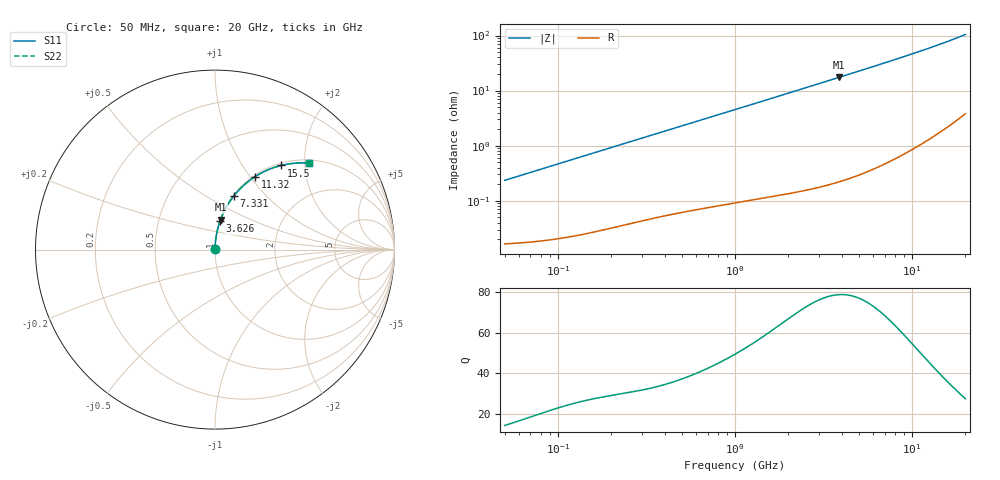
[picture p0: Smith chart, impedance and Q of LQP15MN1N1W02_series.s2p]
!Murata Part Number: LQP15MN1N1W02
!These Parameters are Measured in Series Mode Connection
!  o--[Z]--o
!Port1  Port2
!  o-------o
!Freq. Start=50[MHz] Stop=20[GHz], 401[Steps]
# Hz S RI R 50
!Freq.(Hz) S11(Real) S11(Imag) S21(Real) S21(Imag) S12(Real) S12(Imag) S22(Real) S22(Imag)
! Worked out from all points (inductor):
!   401 points, 50 MHz to 20 GHz, reference 50 ohm
!   read as one part in series: L = 743 pH near 51.52 MHz
!   highest Q = 78.9 at 3.85 GHz (marker M1), where L = 715 pH
!   S11 on the Smith chart (normalised r, x): 50 MHz: 1.00, +0.00; 3.626 GHz: 1.00, +0.33; 7.331 GHz: 1.01, +0.67; 11.32 GHz: 1.02, +1.06; 15.5 GHz: 1.04, +1.52; 20 GHz: 1.08, +2.09
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5e7  0.00017 0.00234  0.9998 -0.00234  0.9998 -0.00234  0.00017 0.00234
5.152053e7  0.000171 0.00241  0.9998 -0.00241  0.9998 -0.00241  0.000171 0.00241
1.364002e8  0.000283 0.00634  0.9997 -0.00634  0.9997 -0.00634  0.000283 0.00634
3.721004e8  0.000794 0.017  0.9992 -0.017  0.9992 -0.017  0.000794 0.017
6.380365e8  0.00154 0.0289  0.9985 -0.0289  0.9985 -0.0289  0.00154 0.0289
1e9  0.00293 0.0449  0.9971 -0.0449  0.9971 -0.0449  0.00293 0.0449
1.714689e9  0.0071 0.0764  0.9929 -0.0764  0.9929 -0.0764  0.0071 0.0764
2.728004e9  0.0163 0.1202  0.9837 -0.1202  0.9837 -0.1202  0.0163 0.1202
3.626126e9  0.0278 0.158  0.9722 -0.158  0.9722 -0.158  0.0278 0.158
3.850025e9  0.0311 0.1673  0.9689 -0.1673  0.9689 -0.1673  0.0311 0.1673
5.433528e9  0.0595 0.23  0.9405 -0.23  0.9405 -0.23  0.0595 0.23
6.311513e9  0.0787 0.2625  0.9213 -0.2625  0.9213 -0.2625  0.0787 0.2625
7.331367e9  0.1039 0.2977  0.8961 -0.2977  0.8961 -0.2977  0.1039 0.2977
7.442007e9  0.1068 0.3014  0.8932 -0.3014  0.8932 -0.3014  0.1068 0.3014
8.389408e9  0.1328 0.3313  0.8672 -0.3313  0.8672 -0.3313  0.1328 0.3313
9.316812e9  0.1601 0.3581  0.8399 -0.3581  0.8399 -0.3581  0.1601 0.3581
1.131968e10  0.224 0.4069  0.776 -0.4069  0.776 -0.4069  0.224 0.4069
1.314879e10  0.2863 0.4406  0.7137 -0.4406  0.7137 -0.4406  0.2863 0.4406
1.550395e10  0.3686 0.469  0.6314 -0.469  0.6314 -0.469  0.3686 0.469
1.774144e10  0.4461 0.4815  0.5539 -0.4815  0.5539 -0.4815  0.4461 0.4815
1.940974e10  0.5019 0.4827  0.4981 -0.4827  0.4981 -0.4827  0.5019 0.4827
2e10  0.5211 0.4817  0.4789 -0.4817  0.4789 -0.4817  0.5211 0.4817
